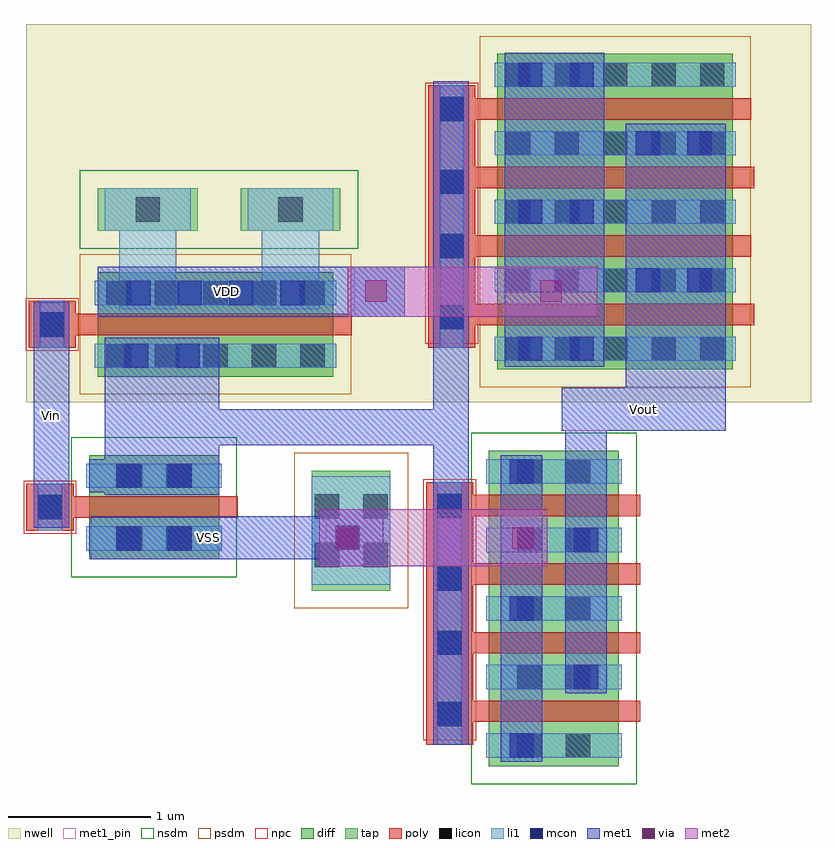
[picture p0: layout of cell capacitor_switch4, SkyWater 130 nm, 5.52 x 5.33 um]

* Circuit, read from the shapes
.subckt capacitor_switch4 VDD VSS Vin Vout
XM1 n1 Vin VSS VSS sky130_fd_pr__nfet_01v8 w=0.91 l=0.15
XM2 Vout n1 VSS VSS sky130_fd_pr__nfet_01v8 w=0.91 l=0.15 m=4
XM3 VDD Vin n1 VDD sky130_fd_pr__pfet_01v8 w=1.65 l=0.15
XM4 Vout n1 VDD VDD sky130_fd_pr__pfet_01v8 w=1.65 l=0.15 m=4
.ends

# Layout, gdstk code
from math import pi, radians
import gdstk
lib = gdstk.Library(unit=1e-6, precision=1e-09)
def R(c, l, rs):  # rectangles x0, y0, x1, y1
    for r in rs: c.add(gdstk.rectangle(r[:2], r[2:], *l))
def A(c, l, x, y, w, h, nx, ny, dx, dy):  # array of equal rectangles
    R(c, l, [(x+i*dx, y+j*dy, x+i*dx+w, y+j*dy+h) for i in range(nx) for j in range(ny)])
nwell = (64, 20)
diff = (65, 20)
tap = (65, 44)
poly = (66, 20)
licon = (66, 44)
li1 = (67, 20)
mcon = (67, 44)
met1_pin = (68, 16)
met1 = (68, 20)
via = (68, 44)
met2 = (69, 20)
nsdm = (93, 44)
psdm = (94, 20)
npc = (95, 20)

sky130_fd_pr__nfet_01v8_ = lib.new_cell('sky130_fd_pr__nfet_01v8_9CGS2F')
R(sky130_fd_pr__nfet_01v8_, diff, [(-0.365,-0.3,0.365,0.61)])
R(sky130_fd_pr__nfet_01v8_, poly, [(-0.165,-0.74,0.165,-0.41), (-0.075,-0.41,0.075,0.74)])
R(sky130_fd_pr__nfet_01v8_, licon, [(-0.085,-0.66,0.085,-0.49), (-0.305,-0.1,-0.135,0.07), (0.135,-0.1,0.305,0.07), (-0.305,0.24,-0.135,0.41), (0.135,0.24,0.305,0.41)])
R(sky130_fd_pr__nfet_01v8_, li1, [(-0.165,-0.66,0.165,-0.49), (-0.305,-0.32,-0.135,0.63), (0.135,-0.32,0.305,0.63)])
R(sky130_fd_pr__nfet_01v8_, mcon, [(-0.085,-0.66,0.085,-0.49), (-0.305,-0.11,-0.135,0.06), (0.135,-0.11,0.305,0.06), (-0.305,0.25,-0.135,0.42), (0.135,0.25,0.305,0.42)])
R(sky130_fd_pr__nfet_01v8_, met1, [(-0.145,-0.69,0.145,-0.46), (-0.335,-0.3,-0.105,0.61), (0.105,-0.3,0.335,0.61)])
R(sky130_fd_pr__nfet_01v8_, nsdm, [(-0.49,-0.425,0.49,0.735)])
R(sky130_fd_pr__nfet_01v8_, npc, [(-0.185,-0.76,0.185,-0.39)])

sky130_fd_pr__pfet_01v8_ = lib.new_cell('sky130_fd_pr__pfet_01v8_46WN3R')
R(sky130_fd_pr__pfet_01v8_, nwell, [(-0.545,-1.145,0.545,1.315)])
R(sky130_fd_pr__pfet_01v8_, diff, [(-0.365,-0.645,0.365,1.005)])
R(sky130_fd_pr__pfet_01v8_, poly, [(-0.165,-1.13,0.165,-0.8), (-0.075,-0.8,0.075,1.135)])
A(sky130_fd_pr__pfet_01v8_, licon, -0.305, -0.585, 0.17, 0.17, 1, 5, 0, 0.34)
A(sky130_fd_pr__pfet_01v8_, licon, 0.135, -0.585, 0.17, 0.17, 1, 5, 0, 0.34)
R(sky130_fd_pr__pfet_01v8_, licon, [(-0.085,-1.05,0.085,-0.88)])
R(sky130_fd_pr__pfet_01v8_, li1, [(-0.165,-1.05,0.165,-0.88), (-0.305,-0.665,-0.135,1.025), (0.135,-0.665,0.305,1.025)])
A(sky130_fd_pr__pfet_01v8_, mcon, 0.135, -0.445, 0.17, 0.17, 1, 4, 0, 0.36)
R(sky130_fd_pr__pfet_01v8_, mcon, [(-0.085,-1.05,0.085,-0.88), (-0.305,-0.46,-0.135,-0.29), (-0.305,-0.1,-0.135,0.07)])
R(sky130_fd_pr__pfet_01v8_, met1, [(-0.145,-1.08,0.145,-0.85), (0.105,-0.645,0.335,1.005), (-0.335,-0.56,-0.105,0.17)])
R(sky130_fd_pr__pfet_01v8_, psdm, [(-0.49,-0.77,0.49,1.13)])
R(sky130_fd_pr__pfet_01v8_, npc, [(-0.185,-1.15,0.185,-0.78)])

c_sky130_fd_pr__nfet_01v8_ = lib.new_cell('sky130_fd_pr__nfet_01v8_ZZU2YL')
R(c_sky130_fd_pr__nfet_01v8_, diff, [(-1.105,-0.455,1.105,0.455)])
A(c_sky130_fd_pr__nfet_01v8_, poly, -0.795, -0.565, 0.15, 1.17, 4, 1, 0.48, 0)
R(c_sky130_fd_pr__nfet_01v8_, poly, [(-0.885,-0.895,0.955,-0.565)])
A(c_sky130_fd_pr__nfet_01v8_, licon, -1.045, -0.255, 0.17, 0.17, 5, 2, 0.48, 0.34)
R(c_sky130_fd_pr__nfet_01v8_, licon, [(-0.805,-0.815,-0.635,-0.645), (-0.295,-0.815,-0.125,-0.645), (0.155,-0.815,0.325,-0.645), (0.655,-0.815,0.825,-0.645)])
A(c_sky130_fd_pr__nfet_01v8_, li1, -1.045, -0.475, 0.17, 0.95, 5, 1, 0.48, 0)
R(c_sky130_fd_pr__nfet_01v8_, li1, [(-0.885,-0.815,0.955,-0.645)])
A(c_sky130_fd_pr__nfet_01v8_, mcon, -1.045, -0.31, 0.17, 0.17, 3, 1, 0.96, 0)
R(c_sky130_fd_pr__nfet_01v8_, mcon, [(-0.805,-0.815,-0.635,-0.645), (-0.295,-0.815,-0.125,-0.645), (0.155,-0.815,0.325,-0.645), (0.655,-0.815,0.825,-0.645), (-0.565,0.14,-0.395,0.31), (0.395,0.14,0.565,0.31)])
A(c_sky130_fd_pr__nfet_01v8_, met1, -1.075, -0.37, 0.23, 0.29, 3, 1, 0.96, 0)
R(c_sky130_fd_pr__nfet_01v8_, met1, [(-0.865,-0.845,0.935,-0.615), (-0.595,0.08,-0.365,0.37), (0.365,0.08,0.595,0.37)])
R(c_sky130_fd_pr__nfet_01v8_, nsdm, [(-1.23,-0.58,1.23,0.58)])
R(c_sky130_fd_pr__nfet_01v8_, npc, [(-0.905,-0.915,0.925,-0.545)])

c_sky130_fd_pr__pfet_01v8_ = lib.new_cell('sky130_fd_pr__pfet_01v8_C7DZJH')
R(c_sky130_fd_pr__pfet_01v8_, nwell, [(-1.315,-1.475,1.335,1.375)])
R(c_sky130_fd_pr__pfet_01v8_, diff, [(-1.105,-0.825,1.105,0.825)])
R(c_sky130_fd_pr__pfet_01v8_, poly, [(-0.885,-1.31,0.955,-0.98), (-0.795,-0.98,-0.645,0.955), (-0.315,-0.98,-0.165,0.975), (0.165,-0.98,0.315,0.955), (0.645,-0.98,0.795,0.975)])
A(c_sky130_fd_pr__pfet_01v8_, licon, -1.045, -0.765, 0.17, 0.17, 5, 5, 0.48, 0.34)
R(c_sky130_fd_pr__pfet_01v8_, licon, [(-0.805,-1.23,-0.635,-1.06), (-0.295,-1.23,-0.125,-1.06), (0.155,-1.23,0.325,-1.06), (0.655,-1.23,0.825,-1.06)])
A(c_sky130_fd_pr__pfet_01v8_, li1, -1.045, -0.845, 0.17, 1.69, 5, 1, 0.48, 0)
R(c_sky130_fd_pr__pfet_01v8_, li1, [(-0.885,-1.23,0.955,-1.06)])
A(c_sky130_fd_pr__pfet_01v8_, mcon, -1.045, -0.68, 0.17, 0.17, 3, 2, 0.96, 0.36)
R(c_sky130_fd_pr__pfet_01v8_, mcon, [(-0.805,-1.23,-0.635,-1.06), (-0.295,-1.23,-0.125,-1.06), (0.155,-1.23,0.325,-1.06), (0.655,-1.23,0.825,-1.06), (-0.565,0.145,-0.395,0.315), (0.395,0.145,0.565,0.315), (-0.565,0.505,-0.395,0.675), (0.395,0.505,0.565,0.675)])
A(c_sky130_fd_pr__pfet_01v8_, met1, -1.075, -0.74, 0.23, 0.655, 3, 1, 0.96, 0)
R(c_sky130_fd_pr__pfet_01v8_, met1, [(-0.865,-1.26,0.935,-1.03), (-0.595,0.085,-0.365,0.74), (0.365,0.085,0.595,0.74)])
R(c_sky130_fd_pr__pfet_01v8_, psdm, [(-1.23,-0.95,1.23,0.95)])
R(c_sky130_fd_pr__pfet_01v8_, npc, [(-0.905,-1.33,0.925,-0.96)])

capacitor_switch4 = lib.new_cell('capacitor_switch4')
R(capacitor_switch4, nwell, [(1,5.2,6.5,7.85)])
R(capacitor_switch4, tap, [(3,3.88,3.55,4.72), (1.5,6.4,2.2,6.7), (2.5,6.4,3.2,6.7)])
R(capacitor_switch4, licon, [(3.02,4.045,3.19,4.215), (3.36,4.045,3.53,4.215), (3.02,4.385,3.19,4.555), (3.36,4.385,3.53,4.555), (1.765,6.465,1.935,6.635), (2.765,6.465,2.935,6.635)])
R(capacitor_switch4, li1, [(3,3.92,3.55,4.68), (1.65,5.85,2.05,6.4), (2.65,5.85,3.05,6.4), (1.55,6.4,2.15,6.7), (2.55,6.4,3.15,6.7)])
R(capacitor_switch4, mcon, [(3.165,4.165,3.335,4.335)])
R(capacitor_switch4, met1_pin, [(1.45,4.1,3.1,4.4), (1.05,4.32,1.3,5.9), (4.75,5,5.9,5.3), (1.5,5.8,3.3,6.15)])
R(capacitor_switch4, met1, [(4.325,2.68,4.615,4.78), (3.85,2.8,4.1,4.9), (4.775,3.16,5.065,5), (3.05,4.05,3.5,4.1), (1.45,4.1,3.5,4.4), (1.05,4.32,1.3,5.9), (3.05,4.4,3.5,4.45), (1.55,4.55,2.35,4.9), (1.55,4.9,4.1,5.15), (4.75,5,5.9,5.3), (1.55,5.15,2.35,5.65), (3.85,5.15,4.1,7.45), (5.2,5.3,5.9,7.15), (4.35,5.45,5.05,7.65), (1.5,5.8,3.65,6.15)])
R(capacitor_switch4, via, [(3.175,4.175,3.325,4.325), (4.405,4.175,4.555,4.325), (3.375,5.905,3.525,6.055), (4.6,5.905,4.75,6.055)])
R(capacitor_switch4, met2, [(3.05,4.05,4.65,4.45), (3.25,5.8,5,6.15)])
R(capacitor_switch4, nsdm, [(1.375,6.275,3.325,6.825)])
R(capacitor_switch4, psdm, [(2.875,3.755,3.675,4.845)])
capacitor_switch4.add(gdstk.Reference(sky130_fd_pr__nfet_01v8_, (1.74,4.465), rotation=3*pi/2))
capacitor_switch4.add(gdstk.Reference(sky130_fd_pr__pfet_01v8_, (2.145,5.745), rotation=pi/2, x_reflection=True))
capacitor_switch4.add(gdstk.Reference(c_sky130_fd_pr__nfet_01v8_, (4.695,3.755), rotation=3*pi/2))
capacitor_switch4.add(gdstk.Reference(c_sky130_fd_pr__pfet_01v8_, (5.125,6.535), rotation=3*pi/2))
capacitor_switch4.add(gdstk.Label('VDD', (2.4,5.975), layer=68, texttype=16))
capacitor_switch4.add(gdstk.Label('Vin', (1.175,5.11), layer=68, texttype=16))
capacitor_switch4.add(gdstk.Label('Vout', (5.325,5.15), layer=68, texttype=16))
capacitor_switch4.add(gdstk.Label('VSS', (2.275,4.25), layer=68, texttype=16))

lib.write_gds('capacitor_switch4.gds')
